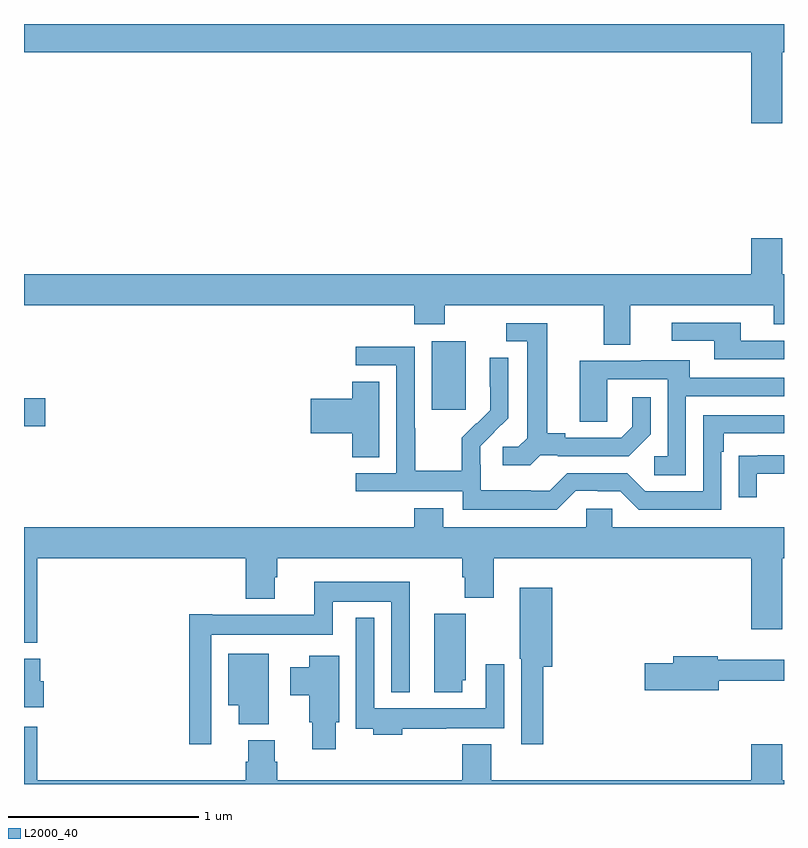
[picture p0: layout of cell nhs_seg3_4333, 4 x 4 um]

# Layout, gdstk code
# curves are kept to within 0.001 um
import gdstk
lib = gdstk.Library(unit=1e-6, precision=1e-09)
def R(c, l, rs):  # rectangles x0, y0, x1, y1
    for r in rs: c.add(gdstk.rectangle(r[:2], r[2:], *l))
def P(c, l, *ps):  # polygons
    for p in ps: c.add(gdstk.Polygon(p, *l))
L2000_40 = (2000, 40)

nhs_seg3_4333 = lib.new_cell('nhs_seg3_4333')
R(nhs_seg3_4333, L2000_40, [(341,696.284,341.113,696.431), (343.145,696.369,343.324,696.73)])
P(nhs_seg3_4333, L2000_40, [(344.992,698.252),(345,698.252),(345,698.4),(341,698.4),(341,698.252),(344.828,698.252),(344.828,697.878),(344.992,697.878)],
  [(344.191,696.92),(344.945,696.92),(344.945,696.821),(345,696.821),(345,697.084),(344.992,697.084),(344.992,697.273),(344.828,697.273),(344.828,697.084),(341,697.084),(341,696.92),(343.055,696.92),(343.055,696.821),(343.215,696.821),(343.215,696.92),(344.051,696.92),(344.051,696.712),(344.191,696.712)],
  [(345,696.732),(344.773,696.732),(344.773,696.828),(344.409,696.828),(344.409,696.732),(344.633,696.732),(344.633,696.636),(345,696.636)],
  [(343.716,696.129),(343.81,696.129),(343.81,696.126),(344.182,696.126),(344.298,696.242),(344.298,696.436),(344.201,696.436),(344.201,696.279),(344.144,696.222),(343.849,696.222),(343.849,696.245),(343.753,696.245),(343.753,696.825),(343.539,696.825),(343.539,696.729),(343.649,696.729),(343.649,696.221),(343.602,696.174),(343.521,696.174),(343.521,696.077),(343.664,696.077)],
  [(343.905,695.943),(344.021,695.943),(344.021,695.94),(344.139,695.94),(344.235,695.844),(344.67,695.844),(344.67,696.149),(344.683,696.149),(344.683,696.246),(345,696.246),(345,696.342),(344.574,696.342),(344.574,695.94),(344.271,695.94),(344.175,696.036),(343.86,696.036),(343.767,695.943),(343.667,695.943),(343.667,695.947),(343.404,695.947),(343.404,696.081),(343.402,696.081),(343.402,696.178),(343.548,696.326),(343.548,696.644),(343.452,696.644),(343.452,696.49),(343.454,696.49),(343.454,696.368),(343.383,696.297),(343.38,696.3),(343.303,696.223),(343.303,696.049),(343.059,696.049),(343.059,696.272),(343.056,696.272),(343.056,696.702),(342.747,696.702),(342.747,696.603),(342.96,696.603),(342.96,696.036),(342.747,696.036),(342.747,695.94),(343.308,695.94),(343.308,695.843),(343.805,695.843)],
  [(344.484,696.441),(345,696.441),(345,696.537),(344.503,696.537),(344.503,696.631),(344.249,696.631),(344.249,696.627),(343.925,696.627),(343.925,696.307),(344.07,696.307),(344.07,696.531),(344.388,696.531),(344.388,696.126),(344.316,696.126),(344.316,696.025),(344.484,696.025)],
  [(342.871,696.518),(342.728,696.518),(342.728,696.428),(342.51,696.428),(342.51,696.245),(342.728,696.245),(342.728,696.121),(342.871,696.121)],
  [(344.857,696.033),(345,696.033),(345,696.129),(344.863,696.129),(344.863,696.128),(344.761,696.128),(344.761,695.91),(344.857,695.91)],
  [(341.071,695.588),(342.167,695.588),(342.167,695.375),(342.319,695.375),(342.319,695.487),(342.332,695.487),(342.332,695.588),(343.307,695.588),(343.307,695.489),(343.319,695.489),(343.319,695.38),(343.472,695.38),(343.472,695.588),(344.828,695.588),(344.828,695.214),(344.992,695.214),(344.992,695.588),(345,695.588),(345,695.752),(344.097,695.752),(344.097,695.85),(343.959,695.85),(343.959,695.752),(343.207,695.752),(343.207,695.851),(343.055,695.851),(343.055,695.752),(341,695.752),(341,695.144),(341.071,695.144)],
  [(341.985,695.186),(342.624,695.186),(342.624,695.36),(342.933,695.36),(342.933,694.883),(343.03,694.883),(343.03,695.464),(342.527,695.464),(342.527,695.29),(341.992,695.29),(341.992,695.293),(341.869,695.293),(341.869,694.608),(341.985,694.608)],
  [(343.733,695.018),(343.781,695.018),(343.781,695.434),(343.61,695.434),(343.61,695.058),(343.617,695.058),(343.617,694.608),(343.733,694.608)],
  [(343.306,694.947),(343.324,694.947),(343.324,695.295),(343.16,695.295),(343.16,694.884),(343.306,694.884)],
  [(342.992,694.692),(343.223,694.692),(343.223,694.694),(343.527,694.694),(343.527,695.029),(343.431,695.029),(343.431,694.798),(342.843,694.798),(342.843,695.275),(342.747,695.275),(342.747,694.692),(342.839,694.692),(342.839,694.658),(342.992,694.658)],
  [(342.289,695.086),(342.074,695.086),(342.074,694.814),(342.131,694.814),(342.131,694.715),(342.289,694.715)],
  [(342.64,694.725),(342.658,694.725),(342.658,695.074),(342.5,695.074),(342.5,695.014),(342.401,695.014),(342.401,694.867),(342.5,694.867),(342.5,694.725),(342.518,694.725),(342.518,694.584),(342.64,694.584)],
  [(344.656,694.944),(345,694.944),(345,695.053),(344.652,695.053),(344.652,695.072),(344.417,695.072),(344.417,695.036),(344.268,695.036),(344.268,694.894),(344.656,694.894)],
  [(341.104,694.941),(341.086,694.941),(341.086,695.059),(341,695.059),(341,694.805),(341.104,694.805)],
  [(345,694.42),(344.992,694.42),(344.992,694.609),(344.828,694.609),(344.828,694.42),(343.459,694.42),(343.459,694.609),(343.307,694.609),(343.307,694.42),(342.332,694.42),(342.332,694.518),(342.319,694.518),(342.319,694.63),(342.179,694.63),(342.179,694.518),(342.167,694.518),(342.167,694.42),(341.071,694.42),(341.071,694.702),(341,694.702),(341,694.4),(345,694.4)])

lib.write_gds('nhs_seg3_4333.gds')
